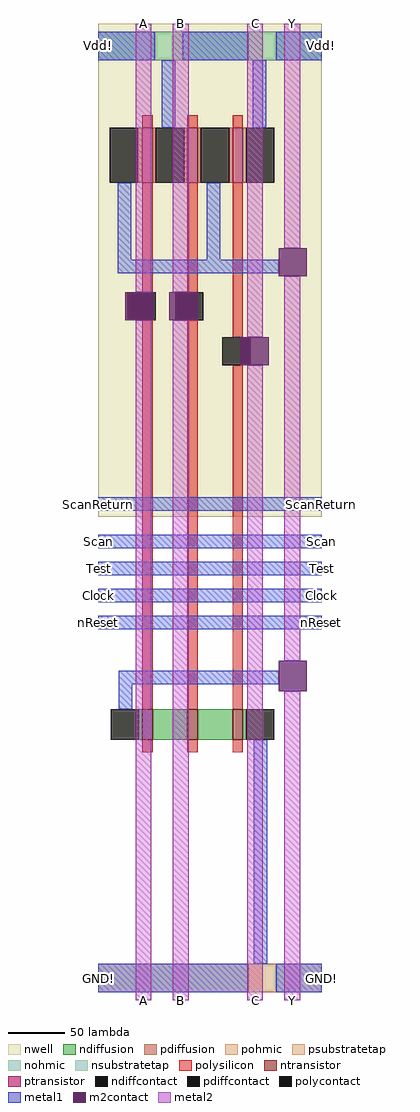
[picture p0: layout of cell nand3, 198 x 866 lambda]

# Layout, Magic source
magic
tech tsmc180
<< nwell >>
rect 0 429 198 866
<< polysilicon >>
rect 39 774 48 785
rect 79 774 88 785
rect 119 774 128 785
rect 39 628 48 725
rect 79 628 88 725
rect 39 258 48 603
rect 79 258 88 603
rect 119 588 128 725
rect 119 258 128 563
rect 39 220 48 231
rect 79 220 88 231
rect 119 220 128 231
<< ndiffusion >>
rect 36 231 39 258
rect 48 231 79 258
rect 88 231 119 258
rect 128 231 131 258
<< pdiffusion >>
rect 35 725 39 774
rect 48 725 51 774
rect 76 725 79 774
rect 88 725 91 774
rect 116 725 119 774
rect 128 725 131 774
<< pohmic >>
rect 0 7 133 32
rect 158 7 198 32
<< nohmic >>
rect 0 834 50 859
rect 75 834 133 859
rect 158 834 198 859
<< ntransistor >>
rect 39 231 48 258
rect 79 231 88 258
rect 119 231 128 258
<< ptransistor >>
rect 39 725 48 774
rect 79 725 88 774
rect 119 725 128 774
<< polycontact >>
rect 26 603 51 628
rect 68 603 93 628
rect 110 563 135 588
<< ndiffcontact >>
rect 11 231 36 258
rect 131 231 156 258
<< pdiffcontact >>
rect 10 725 35 774
rect 51 725 76 774
rect 91 725 116 774
rect 131 725 156 774
<< psubstratetap >>
rect 133 7 158 32
<< nsubstratetap >>
rect 50 834 75 859
rect 133 834 158 859
<< metal1 >>
rect 0 834 50 859
rect 75 834 133 859
rect 158 834 198 859
rect 56 774 68 834
rect 137 774 149 834
rect 17 657 29 725
rect 96 657 108 725
rect 17 645 160 657
rect 0 434 198 446
rect 0 401 198 413
rect 0 377 198 389
rect 0 353 198 365
rect 0 329 198 341
rect 18 280 160 292
rect 18 258 30 280
rect 138 32 150 231
rect 0 7 133 32
rect 158 7 198 32
<< m2contact >>
rect 160 642 185 667
rect 24 603 26 628
rect 26 603 49 628
rect 63 603 68 628
rect 68 603 88 628
rect 126 563 135 588
rect 135 563 151 588
rect 160 274 185 301
<< metal2 >>
rect 33 628 47 866
rect 66 628 80 866
rect 33 0 47 603
rect 66 0 80 603
rect 132 588 146 866
rect 165 667 179 866
rect 132 0 146 563
rect 165 301 179 642
rect 165 0 179 274
<< labels >>
rlabel metal1 0 329 0 341 3 nReset
rlabel metal1 0 353 0 365 3 Clock
rlabel metal1 0 377 0 389 3 Test
rlabel metal1 0 401 0 413 3 Scan
rlabel metal1 0 434 0 446 3 ScanReturn
rlabel metal1 0 7 0 32 3 GND!
rlabel metal1 0 834 0 859 3 Vdd!
rlabel metal2 33 0 47 0 1 A
rlabel metal2 66 0 80 0 1 B
rlabel metal2 165 0 179 0 1 Y
rlabel metal1 198 7 198 32 7 GND!
rlabel metal1 198 834 198 859 7 Vdd!
rlabel metal1 198 434 198 446 7 ScanReturn
rlabel metal1 198 401 198 413 7 Scan
rlabel metal1 198 329 198 341 7 nReset
rlabel metal1 198 353 198 365 7 Clock
rlabel metal1 198 377 198 389 7 Test
rlabel metal2 132 0 146 0 1 C
rlabel metal2 132 866 146 866 5 C
rlabel metal2 33 866 47 866 5 A
rlabel metal2 66 866 80 866 5 B
rlabel metal2 165 866 179 866 5 Y
<< end >>
